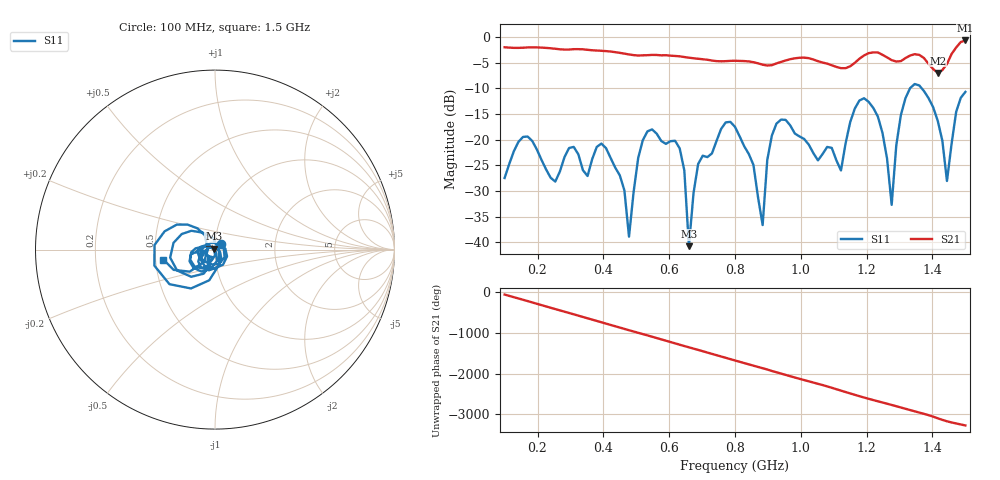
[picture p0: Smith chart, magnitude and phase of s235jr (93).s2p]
! NanoVNA-App
! Date: 2025-09-25 15:04:53
! Start: 100MHz Stop: 1,5GHz Points: 101
! S-Parameter data: F S11 S21 S12 S22
# Hz S RI R 50
!  Frequency  S11_Real  S11_Imag  S21_Real  S21_Imag  S12_Real  S12_Imag  S22_Real  S22_Imag
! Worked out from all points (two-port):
!   101 points, 100 MHz to 1.5 GHz, reference 50 ohm
!   highest |S21| = -0.64 dB at 1.5 GHz (marker M1); lowest = -7.0 dB at 1.416 GHz (marker M2)
!   |S21| within 3 dB of the highest: start of sweep to 611.8 MHz; 1.19 GHz to 1.254 GHz (63.04 MHz wide, 5.16 % of centre) (the widest 2 of 4)
!   lowest |S11| = -40.8 dB at 660 MHz (marker M3), VSWR 1.02, Z = 49.3 + j0.567 ohm
!   |S11| at or under -10 dB: start of sweep to 1.332 GHz; 1.368 GHz to end of sweep
!   S12 and S22 are empty: the file has one direction only
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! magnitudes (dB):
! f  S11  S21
! 100 MHz  -27.5  -2.0
! 156 MHz  -19.5  -2.1
! 338 MHz  -26.0  -2.4
! 408 MHz  -21.6  -2.7
! 478 MHz  -38.9  -3.4
! 520 MHz  -20.1  -3.5
! 576 MHz  -20.3  -3.5
! 632 MHz  -21.7  -3.7
! 660 MHz  -40.8  -4.0
! 688 MHz  -24.7  -4.2
! 800 MHz  -17.5  -4.6
! 884 MHz  -36.7  -5.4
! 926 MHz  -16.9  -5.1
! 1.038 GHz  -22.6  -4.3
! 1.122 GHz  -26.0  -6.0
! 1.192 GHz  -11.9  -3.6
! 1.248 GHz  -18.7  -3.4
! 1.276 GHz  -32.7  -4.5
! 1.332 GHz  -9.9  -3.6
! 1.416 GHz  -16.3  -7.0
! 1.444 GHz  -28.1  -5.2
! 1.5 GHz  -10.7  -0.6
